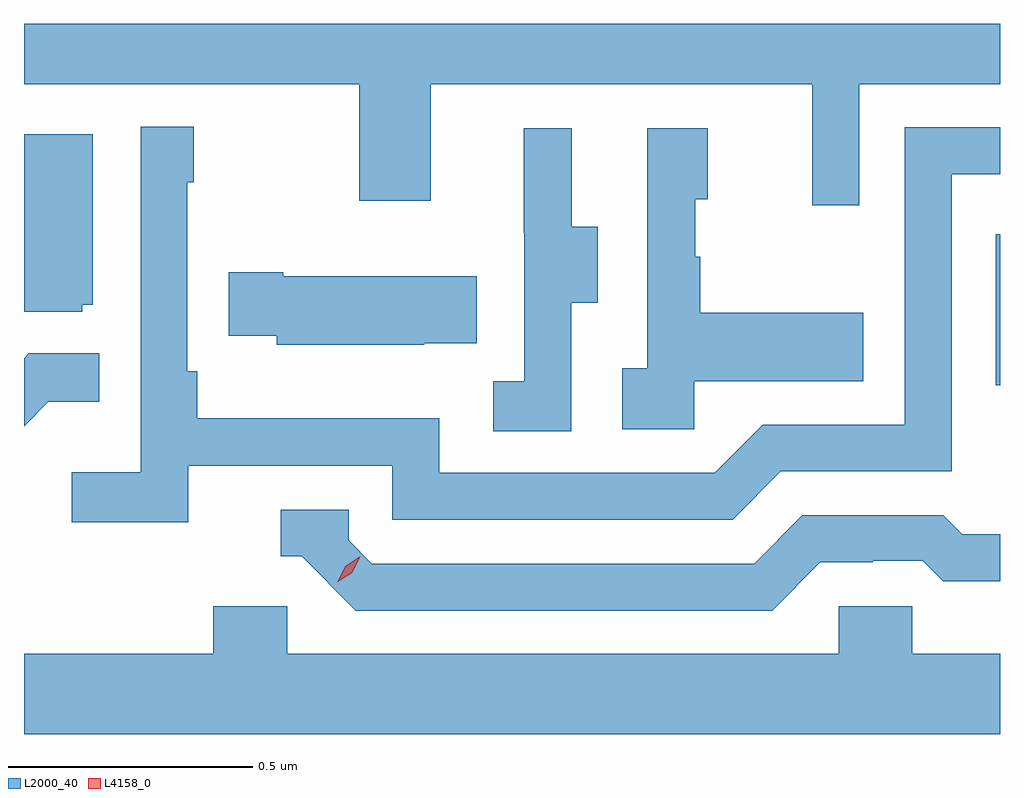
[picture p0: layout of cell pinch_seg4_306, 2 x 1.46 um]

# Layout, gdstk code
import gdstk
lib = gdstk.Library(unit=1e-6, precision=1e-09)
def R(c, l, rs):  # rectangles x0, y0, x1, y1
    for r in rs: c.add(gdstk.rectangle(r[:2], r[2:], *l))
def P(c, l, *ps):  # polygons
    for p in ps: c.add(gdstk.Polygon(p, *l))
L2000_40 = (2000, 40)
L4158_0 = (4158, 0)

pinch_seg4_306 = lib.new_cell('pinch_seg4_306')
R(pinch_seg4_306, L2000_40, [(923.262,802.863,923.271,803.172)])
P(pinch_seg4_306, L2000_40, [(922.983,803.48),(923.271,803.48),(923.271,803.603),(921.271,803.603),(921.271,803.48),(921.958,803.48),(921.958,803.241),(922.105,803.241),(922.105,803.48),(922.886,803.48),(922.886,803.232),(922.983,803.232)],
  [(921.608,802.698),(922.026,802.698),(922.026,802.587),(922.723,802.587),(922.822,802.686),(923.172,802.686),(923.172,803.295),(923.271,803.295),(923.271,803.391),(923.076,803.391),(923.076,802.782),(922.785,802.782),(922.686,802.683),(922.122,802.683),(922.122,802.795),(921.626,802.795),(921.626,802.891),(921.606,802.891),(921.606,803.279),(921.619,803.279),(921.619,803.392),(921.51,803.392),(921.51,802.684),(921.369,802.684),(921.369,802.582),(921.608,802.582)],
  [(922.392,803.032),(922.447,803.032),(922.447,803.187),(922.393,803.187),(922.393,803.389),(922.295,803.389),(922.295,803.175),(922.296,803.175),(922.296,802.871),(922.233,802.871),(922.233,802.768),(922.392,802.768)],
  [(922.644,802.871),(922.991,802.871),(922.991,803.011),(922.657,803.011),(922.657,803.126),(922.647,803.126),(922.647,803.244),(922.672,803.244),(922.672,803.389),(922.548,803.389),(922.548,802.898),(922.497,802.898),(922.497,802.773),(922.644,802.773)],
  [(921.39,803.028),(921.412,803.028),(921.412,803.377),(921.271,803.377),(921.271,803.013),(921.39,803.013)],
  [(922.091,802.949),(922.199,802.949),(922.199,803.086),(921.802,803.086),(921.802,803.094),(921.691,803.094),(921.691,802.964),(921.789,802.964),(921.789,802.946),(922.091,802.946)],
  [(921.321,802.829),(921.425,802.829),(921.425,802.928),(921.281,802.928),(921.271,802.918),(921.271,802.779)],
  [(922.903,802.5),(923.01,802.5),(923.01,802.503),(923.113,802.503),(923.155,802.461),(923.271,802.461),(923.271,802.557),(923.194,802.557),(923.155,802.596),(922.866,802.596),(922.767,802.497),(921.984,802.497),(921.936,802.545),(921.936,802.608),(921.797,802.608),(921.797,802.512),(921.84,802.512),(921.951,802.401),(922.804,802.401)],
  [(923.271,802.312),(923.091,802.312),(923.091,802.41),(922.941,802.41),(922.941,802.312),(921.81,802.312),(921.81,802.41),(921.659,802.41),(921.659,802.312),(921.271,802.312),(921.271,802.148),(923.271,802.148)])
P(pinch_seg4_306, L4158_0, [(921.913,802.459),(921.913,802.459),(921.929,802.492),(921.959,802.511),(921.96,802.511),(921.96,802.511),(921.944,802.478),(921.913,802.459)])

lib.write_gds('pinch_seg4_306.gds')
